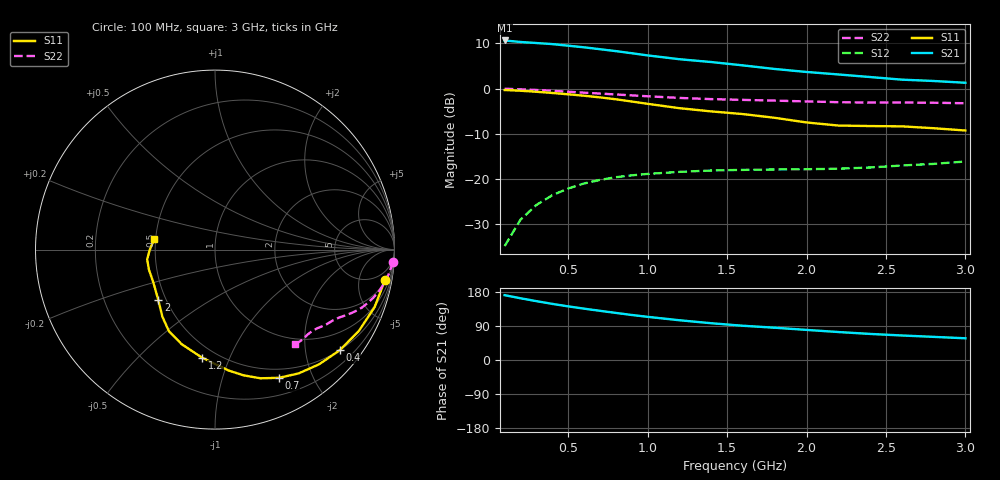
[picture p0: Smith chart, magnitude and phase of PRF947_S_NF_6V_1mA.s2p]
! Filename:  PRF947k.S2P  Version:  3.0
! Philips part #:  PRF947  Date:  Dec 1998
! Bias condition:  Vce=6V, Ic=1.0mA
#  MHz  S  MA  R 50
! Freq  S11  S21  S12  S22  :
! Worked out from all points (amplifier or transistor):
!   20 points, 100 MHz to 3 GHz, reference 50 ohm
!   highest |S21| = 10.6 dB at 100 MHz (marker M1)
!   |S21| within 3 dB of that: start of sweep to 936.6 MHz
!   unconditionally stable (mu >= 1): 2.144 GHz to end of sweep
!   at 400 MHz: K = 0.17, MSG = 16.7 dB, |S12| = -23.6 dB
!   at 1.2 GHz: K = 0.53, MSG = 12.5 dB, |S12| = -18.4 dB
!   at 3 GHz: K = 1.14, MAG = 6.4 dB, |S12| = -16.1 dB
!   lowest NFmin = 0.96 dB at 500 MHz
!   S11 on the Smith chart (normalised r, x): 100 MHz: 2, -11; 400 MHz: 0.50, -2.75; 700 MHz: 0.39, -1.54; 1.2 GHz: 0.42, -0.80; 2 GHz: 0.45, -0.31; 3 GHz: 0.49, +0.07
100  0.9627 -10.1  3.398 171.1  0.0181 83.5  0.9936 -3.9
200  0.9451 -19.9  3.269 162.9  0.0355 78.1  0.9804 -7.5
300  0.9209 -29.5  3.183 155.3  0.05167 73.0  0.9632 -10.9
400  0.8929 -38.9  3.097 148.1  0.06611 68.2  0.9434 -14.1
500  0.8631 -47.8  2.974 141.5  0.07856 64.3  0.9217 -16.9
600  0.8324 -56.0  2.854 135.6  0.08918 60.8  0.8997 -19.4
700  0.7982 -63.5  2.719 129.8  0.09773 57.8  0.88 -21.5
800  0.7604 -70.5  2.59 124.2  0.1047 55.1  0.8595 -23.3
900  0.7186 -77.2  2.455 118.8  0.1097 52.8  0.8401 -24.8
1000  0.6776 -83.6  2.322 113.9  0.1138 51.0  0.8212 -26.2
1200  0.6063 -96.8  2.109 104.9  0.1199 48.3  0.7873 -28.8
1400  0.5588 -109.4  1.962 97.0  0.1241 46.8  0.7637 -31.4
1600  0.5219 -119.5  1.802 90.4  0.1261 47.1  0.7487 -33.7
1800  0.4746 -128.2  1.644 85.2  0.1274 48.8  0.7349 -35.5
2000  0.4217 -138.6  1.524 79.4  0.1282 50.8  0.7201 -37.4
2200  0.3897 -151.6  1.43 73.8  0.13 53.6  0.7064 -39.9
2400  0.3847 -163.3  1.339 68.8  0.1341 57.1  0.6999 -42.7
2600  0.3818 -171.8  1.253 64.7  0.141 61.3  0.6999 -45.3
2800  0.3641 -179.5  1.211 61.1  0.147 65.4  0.6964 -47.4
3000  0.3434 170.1  1.157 57.3  0.1561 69.5  0.6878 -49.9
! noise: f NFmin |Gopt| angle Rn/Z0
500  0.96  0.7  21  0.56
800  1.14  0.64  35  0.57
900  1.31  0.62  35  0.56
1000  1.47  0.61  38  0.54
1500  1.78  0.48  72  0.38
2000  2.09  0.36  122  0.27
